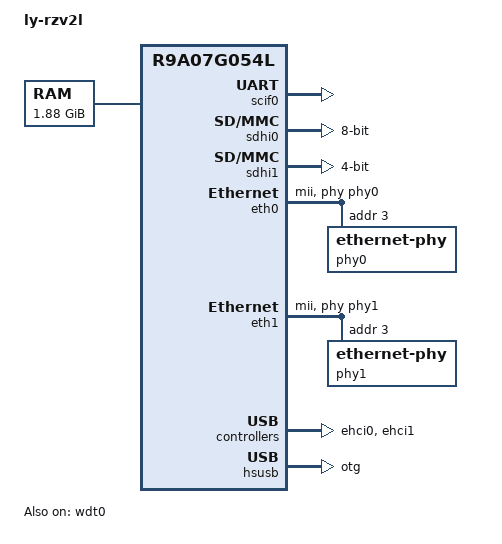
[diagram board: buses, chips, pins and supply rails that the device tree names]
// SPDX-License-Identifier: GPL-2.0
/*
 * Device Tree Source for the GR-Peach board
 *
 * Copyright (C) 2017 Jacopo Mondi <jacopo+renesas@jmondi.org>
 * Copyright (C) 2016 Renesas Electronics
 */

/dts-v1/;
#include <dt-bindings/gpio/gpio.h>
#include "r9a07g054l.dtsi"
#include "r9a07g054l-u-boot.dtsi"
#include <dt-bindings/pinctrl/rzv2l-pinctrl.h>

/ {
	model = "ly-rzv2l";
	compatible = "renesas,r9a07g054l", "renesas,rzv2l";

	aliases {
		serial0 = &scif0;
		spi0 = &spibsc;
	};

	chosen {
		stdout-path = "serial0:115200n8";
	};

	memory@48000000 {
		device_type = "memory";
		/* first 128MB is reserved for secure area. */
		reg = <0 0x48000000 0 0x78000000>;
	};

};

&pinctrl {
	eth0_pins: eth0 {
		pinmux = <RZV2L_PINMUX(20, 0, 1)>,
				<RZV2L_PINMUX(20, 1, 1)>,
				<RZV2L_PINMUX(20, 2, 1)>,
				<RZV2L_PINMUX(21, 0, 1)>,
				<RZV2L_PINMUX(21, 1, 1)>,
				<RZV2L_PINMUX(22, 0, 1)>,
				<RZV2L_PINMUX(22, 1, 1)>,
				<RZV2L_PINMUX(23, 0, 1)>,
				<RZV2L_PINMUX(23, 1, 1)>,
				<RZV2L_PINMUX(24, 0, 1)>,
				<RZV2L_PINMUX(24, 1, 1)>,
				<RZV2L_PINMUX(25, 0, 1)>,
				<RZV2L_PINMUX(25, 1, 1)>,
				<RZV2L_PINMUX(26, 0, 1)>,
				<RZV2L_PINMUX(26, 1, 1)>,
				<RZV2L_PINMUX(27, 0, 1)>,
				<RZV2L_PINMUX(27, 1, 1)>,
				<RZV2L_PINMUX(28, 0, 1)>,
				<RZV2L_PINMUX(28, 1, 1)>;
	};

	eth1_pins: eth1 {
		pinmux = <RZV2L_PINMUX(37, 0, 1)>, /* ET1_MDC */
				<RZV2L_PINMUX(37, 1, 1)>, /* ET1_MDIO */
				<RZV2L_PINMUX(29, 0, 1)>, /* ET1_TXC */
				<RZV2L_PINMUX(29, 1, 1)>, /* ET1_TX_CTL */
				<RZV2L_PINMUX(30, 0, 1)>, /* ET1_TXD0 */
				<RZV2L_PINMUX(30, 1, 1)>, /* ET1_TXD1 */
				<RZV2L_PINMUX(31, 0, 1)>, /* ET1_TXD2 */
				<RZV2L_PINMUX(31, 1, 1)>, /* ET1_TXD3 */
				<RZV2L_PINMUX(32, 0, 1)>, /* ETH1_TX_ERR */
				<RZV2L_PINMUX(32, 1, 1)>, /* ETH1_TX_COL */
				<RZV2L_PINMUX(33, 0, 1)>, /* ETH1_TX_CRS */
				<RZV2L_PINMUX(33, 1, 1)>, /* ET1_RXC */
				<RZV2L_PINMUX(34, 0, 1)>, /* ET1_RX_CTL */
				<RZV2L_PINMUX(34, 1, 1)>, /* ET1_RXD0 */
				<RZV2L_PINMUX(35, 0, 1)>, /* ET1_RXD1 */
				<RZV2L_PINMUX(35, 1, 1)>, /* ET1_RXD2 */
				<RZV2L_PINMUX(36, 0, 1)>, /* ET1_RXD3 */
				<RZV2L_PINMUX(36, 1, 1)>; /* ETH1_RX_ERR */
	};
};

&xinclk {
        clock-frequency = <24000000>;
};

&scif0 {
	status = "okay";
	clock = <100000000>;
};

&sdhi0 {
	/* pinctrl placeholder
	 * If this channel is used for interfacing with a SD card, a power enable
	 * pin (SD0_PWR_EN) must be defined.
	 * The SD0_PWR_EN pin is associated with P4_1.
	 * A HIGH signal on SD0_PWR_EN will enable supply voltage for SD card.
	*/
	bus-width = <8>;
	status = "okay";
	/* This is used for interface that support both eMMC and SD in board */
	mutual-channel;
};

&sdhi1 {
	/* pinctrl placeholder
	 * A power enable pin (SD1_PWR_EN) must be defined to interface with a
	 * SD card.
	 * The SD1_PWR_EN pin is associated with P39_2.
	 * A HIGH signal on SD1_PWR_EN will enable supply voltage for SD card.
	*/
	bus-width = <4>;
	status = "okay";
};

&eth0 {
	pinctrl-names = "default";
	pinctrl-0 = <&eth0_pins>;
	phy-handle = <&phy0>;
	phy-mode = "mii";
	status = "okay";

	phy0: ethernet-phy@3 {
		reg = <3>;
	};
};

&eth1 {
	pinctrl-names = "default";
	pinctrl-0 = <&eth1_pins>;
	phy-handle = <&phy1>;
	phy-mode = "mii";
	status = "okay";

	phy1: ethernet-phy@3 {
		reg = <3>;
	};
};

&i2c1 {
	pinctrl-names = "default";
	status = "disabled";

	adv7535: hdmi@3d {
		compatible = "adi,adv7535";
		reg = <0x3d>;
	};
};

&spibsc {
        num-cs = <1>;
        status = "disabled";
        spi-max-frequency = <40000000>;
        #address-cells = <1>;
        #size-cells = <0>;
        flash0: spi-flash@0 {
                #address-cells = <1>;
                #size-cells = <1>;
                compatible = "spi-flash", "jedec,spi-nor";
                spi-max-frequency = <40000000>;
                spi-tx-bus-width = <1>;
                spi-rx-bus-width = <1>;
                reg = <0>;
                status = "okay";
        };
};

&ehci0 {
	status = "okay";
};

&ehci1 {
	status = "okay";
};

&hsusb {
	dr_mode = "otg";
	status = "okay";
};

&wdt0 {
	status = "okay";
	timeout-sec = <60>;
};
